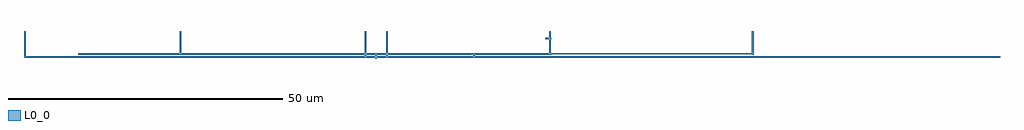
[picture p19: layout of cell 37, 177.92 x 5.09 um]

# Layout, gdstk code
import gdstk
lib = gdstk.Library(unit=1e-6, precision=1e-09)
def P(c, l, *ps):  # polygons
    for p in ps: c.add(gdstk.Polygon(p, *l))
L0_0 = (0, 0)

c_37 = lib.new_cell('37')
P(c_37, L0_0, [(1239.035,770.955),(1343.545,770.955),(1343.545,770.725),(1239.035,770.725),(1239.035,770.955)],
  [(1238.96,770.98),(1239.34,770.98),(1239.34,770.7),(1238.96,770.7),(1238.96,770.98)],
  [(1343.24,770.98),(1343.62,770.98),(1343.62,770.7),(1343.24,770.7),(1343.24,770.98)],
  [(1210.655,770.395),(1292.725,770.395),(1292.725,770.165),(1210.655,770.165),(1210.655,770.395)],
  [(1292.42,770.42),(1292.8,770.42),(1292.8,770.14),(1292.42,770.14),(1292.42,770.42)],
  [(1210.58,770.42),(1210.96,770.42),(1210.96,770.14),(1210.58,770.14),(1210.58,770.42)],
  [(1306.28,770.98),(1306.66,770.98),(1306.66,770.7),(1306.28,770.7),(1306.28,770.98)],
  [(1306.61,775),(1306.61,770.7),(1306.33,770.7),(1306.33,775),(1306.61,775)],
  [(1292.47,770.14),(1292.47,770.98),(1292.75,770.98),(1292.75,770.14),(1292.47,770.14)],
  [(1292.42,770.98),(1292.8,770.98),(1292.8,770.7),(1292.42,770.7),(1292.42,770.98)],
  [(1292.42,770.42),(1292.8,770.42),(1292.8,770.14),(1292.42,770.14),(1292.42,770.42)],
  [(1210.58,770.42),(1210.96,770.42),(1210.96,770.14),(1210.58,770.14),(1210.58,770.42)],
  [(1210.91,775),(1210.91,770.14),(1210.63,770.14),(1210.63,775),(1210.91,775)],
  [(1272.62,770.42),(1273,770.42),(1273,770.14),(1272.62,770.14),(1272.62,770.42)],
  [(1272.95,775),(1272.95,770.14),(1272.67,770.14),(1272.67,775),(1272.95,775)],
  [(1276.58,770.42),(1276.96,770.42),(1276.96,770.14),(1276.58,770.14),(1276.58,770.42)],
  [(1276.91,775),(1276.91,770.14),(1276.63,770.14),(1276.63,775),(1276.91,775)],
  [(1239.29,775),(1239.29,770.7),(1239.01,770.7),(1239.01,775),(1239.29,775)],
  [(1238.96,770.98),(1239.34,770.98),(1239.34,770.7),(1238.96,770.7),(1238.96,770.98)],
  [(1343.24,770.98),(1343.62,770.98),(1343.62,770.7),(1343.24,770.7),(1343.24,770.98)],
  [(1343.57,775),(1343.57,770.7),(1343.29,770.7),(1343.29,775),(1343.57,775)],
  [(1220.53,770.98),(1292.09,770.98),(1292.09,770.7),(1220.53,770.7),(1220.53,770.98)],
  [(1291.76,770.98),(1292.14,770.98),(1292.14,770.7),(1291.76,770.7),(1291.76,770.98)],
  [(1220.48,770.98),(1220.86,770.98),(1220.86,770.7),(1220.48,770.7),(1220.48,770.98)],
  [(1292.47,770.98),(1306.61,770.98),(1306.61,770.7),(1292.47,770.7),(1292.47,770.98)],
  [(1306.28,770.98),(1306.66,770.98),(1306.66,770.7),(1306.28,770.7),(1306.28,770.98)],
  [(1292.42,770.98),(1292.8,770.98),(1292.8,770.7),(1292.42,770.7),(1292.42,770.98)],
  [(1272.67,770.42),(1274.93,770.42),(1274.93,770.14),(1272.67,770.14),(1272.67,770.42)],
  [(1272.62,770.42),(1273,770.42),(1273,770.14),(1272.62,770.14),(1272.62,770.42)],
  [(1274.6,770.42),(1274.98,770.42),(1274.98,770.14),(1274.6,770.14),(1274.6,770.42)],
  [(1333.34,770.42),(1333.72,770.42),(1333.72,770.14),(1333.34,770.14),(1333.34,770.42)],
  [(1276.63,770.42),(1333.67,770.42),(1333.67,770.14),(1276.63,770.14),(1276.63,770.42)],
  [(1276.58,770.42),(1276.96,770.42),(1276.96,770.14),(1276.58,770.14),(1276.58,770.42)],
  [(1305.62,773.78),(1306,773.78),(1306,773.5),(1305.62,773.5),(1305.62,773.78)],
  [(1306.28,773.78),(1306.66,773.78),(1306.66,773.5),(1306.28,773.5),(1306.28,773.78)],
  [(1305.67,773.78),(1306.61,773.78),(1306.61,773.5),(1305.67,773.5),(1305.67,773.78)],
  [(1274.6,770.42),(1274.98,770.42),(1274.98,770.14),(1274.6,770.14),(1274.6,770.42)],
  [(1274.65,770.65),(1274.93,770.65),(1274.93,769.91),(1274.65,769.91),(1274.65,770.65)],
  [(1274.65,770.42),(1388.45,770.42),(1388.45,770.14),(1274.65,770.14),(1274.65,770.42)],
  [(1274.6,770.42),(1274.98,770.42),(1274.98,770.14),(1274.6,770.14),(1274.6,770.42)],
  [(1388.12,770.42),(1388.5,770.42),(1388.5,770.14),(1388.12,770.14),(1388.12,770.42)])

lib.write_gds('37.gds')
